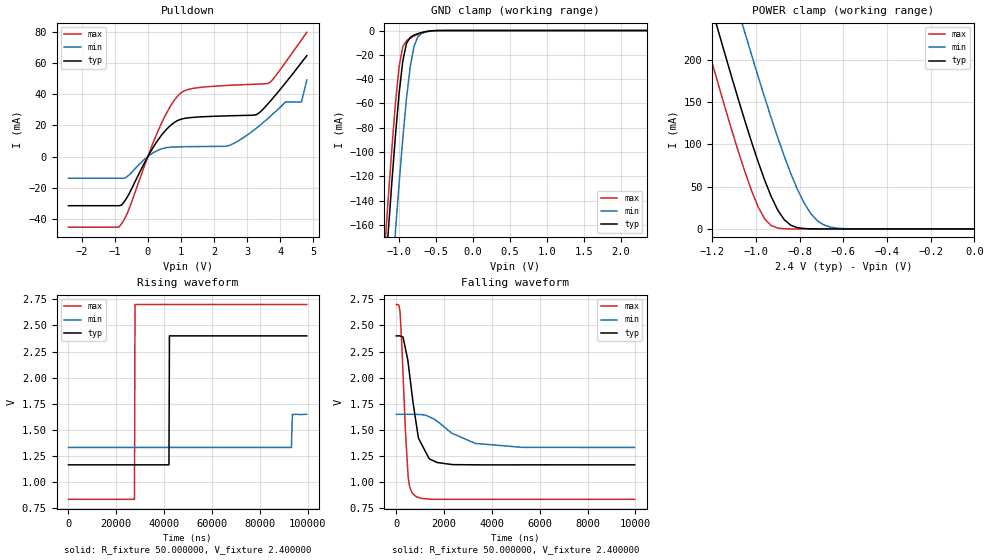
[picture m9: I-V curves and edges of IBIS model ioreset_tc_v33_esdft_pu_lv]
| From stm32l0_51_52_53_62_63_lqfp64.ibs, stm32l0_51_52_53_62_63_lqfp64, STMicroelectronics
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|   Model ioreset_tc_v33_esdft_pu_lv
[Model]  ioreset_tc_v33_esdft_pu_lv
Model_type I/O_open_drain
Polarity   Inverting
Enable   Active-High
Vinl =   0.720000V
Vinh =   1.680000V
Vmeas =  1.200000V
Cref =   1.0000000000000001E-7F
Rref =   1.000000k
Vref =   2.400000V
C_comp   1.925200pF   1.905500pF   1.943400pF
[Temperature Range]   25.000000   0.125000k   -40.000000
[Pullup Reference]   2.400000V   1.650000V   2.700000V
[Pulldown Reference]   0.0V   0.0V   0.0V
[POWER Clamp Reference]   2.400000V   1.650000V   2.700000V
[GND Clamp Reference]   0.0V   0.0V   0.0V
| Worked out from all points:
|   slope of the pulldown table from 0 to 0.36 V, typ, clamps not added: 29.5 ohm
|   GND clamp passes 1 mA (typ) near -0.65 V on its own axis
|   POWER clamp passes 1 mA (typ) near -0.79 V on its own axis
|   rising waveform, R_fixture 50.000000, V_fixture 2.400000: 20-80 % time 120ns typ, 234ns min, 120ns max; typ from 1.17 V to 2.4 V
|   falling waveform, R_fixture 50.000000, V_fixture 2.400000: 20-80 % time 455ns typ, 1.36us min, 227ns max; typ from 2.4 V to 1.17 V
[Pulldown]
|Voltage   I(typ)   I(min)   I(max)
-2.4V     -31.61mA   -13.97mA   -45.4mA
-880mV    -31.61mA   -13.97mA   -45.4mA
-560mV    -23.65mA   -11.7mA    -33.24mA
0V        0A         0A         0A
400mV     13.38mA    4.819mA    20.92mA
960mV     23.69mA    6.215mA    40.22mA
2.4V      26.12mA    6.777mA    45.67mA
3.28V     26.92mA    18.27mA    46.49mA
3.68V     35.13mA    25.5mA     47.5mA
4.16V     47.39mA    35.1mA     60.62mA
4.64V     60.4mA     35.1mA     74.98mA
4.8V      64.8mA     49.1mA     79.8mA
[GND_clamp]
|Voltage   I(typ)   I(min)   I(max)
-2.4V     -1.363A    -1.438A    -1.343A
-1.2V     -211.8mA   -294.7mA   -184.3mA
-1.15V    -168.1mA   -250.5mA   -140.2mA
-1.05V    -86.49mA   -165.5mA   -59.93mA
-1V       -51.57mA   -125.6mA   -29.39mA
-950mV    -24.91mA   -88.47mA   -13.14mA
-900mV    -10.56mA   -55.77mA   -8.357mA
-850mV    -5.628mA   -29.91mA   -6.324mA
-800mV    -3.796mA   -13.38mA   -4.704mA
-700mV    -1.746mA   -2.612mA   -2.066mA
-500mV    -57.04uA   -160.7uA   -33.59uA
2.35V     0A         0A         0A
[POWER_clamp]
|Voltage   I(typ)   I(min)   I(max)
-2.4V     1.416A     1.517A     1.357A
-1.26V    314.3mA    421.1mA    251mA
-1.23V    286.6mA    393.5mA    223.3mA
-1.17V    232.1mA    338.6mA    168.9mA
-1.05V    127.5mA    231.7mA    67.38mA
-960mV    57.81mA    155.5mA    12.03mA
-900mV    22.3mA     108mA      1.061mA
-870mV    10.85mA    85.89mA    258.6uA
-810mV    1.528mA    46.82mA    25.4uA
-720mV    64.6uA     10.03mA    11.6uA
-600mV    14uA       430.8uA    9.552uA
0V        0A         0A         0A
[Ramp]
| variable   typ   min   max
dV/dt_r  0.74004/59.92227n   0.18936/59.65974n   1.11788/60.00258n
dV/dt_f  0.74010/0.47022u   0.19008/1.36232u   1.11790/0.23145u
R_load = 50.000000
[Rising Waveform]
R_fixture= 50.000000
V_fixture= 2.400000
V_fixture_min= 1.650000
V_fixture_max= 2.700000
|time   V(typ)   V(min)   V(max)
0s        1.167V     1.333V     836.9mV
27.63us   1.167V     1.333V     836.7mV
27.83us   1.167V     1.333V     2.7V
42.04us   1.167V     1.333V     2.7V
42.24us   2.4V       1.333V     2.7V
93.29us   2.4V       1.333V     2.7V
93.49us   2.4V       1.523V     2.7V
93.69us   2.4V       1.65V      2.7V
99.7us    2.4V       1.65V      2.7V
[Falling Waveform]
R_fixture= 50.000000
V_fixture= 2.400000
V_fixture_min= 1.650000
V_fixture_max= 2.700000
|time   V(typ)   V(min)   V(max)
0s        2.4V       1.65V      2.7V
160.2ns   2.4V       1.65V      2.621V
380.4ns   2.282V     1.65V      1.51V
500.5ns   2.135V     1.65V      1.048V
740.7ns   1.702V     1.65V      878.9mV
940.9ns   1.415V     1.648V     854.3mV
1.381us   1.224V     1.626V     839.6mV
1.702us   1.19V      1.585V     837.1mV
3.303us   1.167V     1.372V     836.9mV
9.97us    1.167V     1.333V     836.9mV
